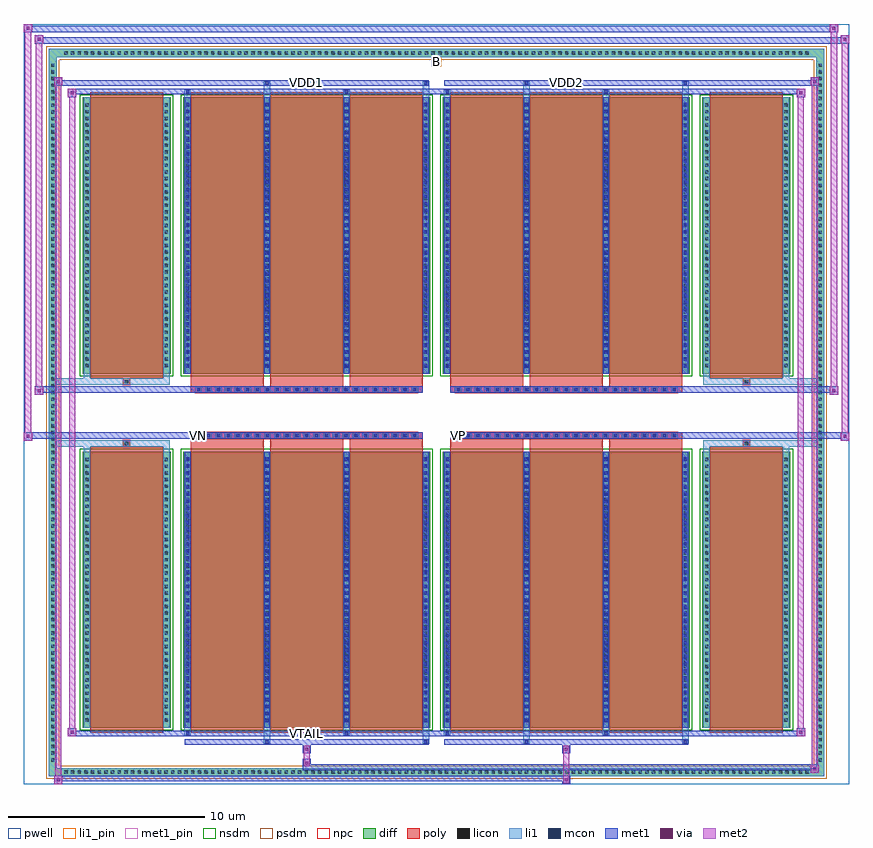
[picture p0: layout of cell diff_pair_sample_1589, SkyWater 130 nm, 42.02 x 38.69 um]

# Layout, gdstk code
import gdstk
lib = gdstk.Library(unit=1e-6, precision=5e-09)
def R(c, l, rs):  # rectangles x0, y0, x1, y1
    for r in rs: c.add(gdstk.rectangle(r[:2], r[2:], *l))
def A(c, l, x, y, w, h, nx, ny, dx, dy):  # array of equal rectangles
    R(c, l, [(x+i*dx, y+j*dy, x+i*dx+w, y+j*dy+h) for i in range(nx) for j in range(ny)])
def P(c, l, *ps):  # polygons
    for p in ps: c.add(gdstk.Polygon(p, *l))
pwell = (64, 44)
diff = (65, 20)
poly = (66, 20)
licon = (66, 44)
li1_pin = (67, 16)
li1 = (67, 20)
mcon = (67, 44)
met1_pin = (68, 16)
met1 = (68, 20)
via = (68, 44)
met2 = (69, 20)
nsdm = (93, 44)
psdm = (94, 20)
npc = (95, 20)

diff_pair_sample_1589 = lib.new_cell('diff_pair_sample_1589')
R(diff_pair_sample_1589, pwell, [(-21.01,-18.91,21.01,19.78), (-18.33,-17.1,-0.01,-0.8), (0.01,-17.1,18.33,-0.8), (-18.33,0.8,-0.01,17.1), (0.01,0.8,18.33,17.1)])
A(diff_pair_sample_1589, diff, -19.075, -18.51, 0.41, 0.41, 112, 2, 0.34, 36.61)
A(diff_pair_sample_1589, diff, -19.74, -17.885, 0.41, 0.41, 1, 105, 0, 0.34)
A(diff_pair_sample_1589, diff, 19.33, -17.885, 0.41, 0.41, 1, 105, 0, 0.34)
R(diff_pair_sample_1589, diff, [(-19.075,-18.51,19.075,-18.1), (-19.74,-17.885,-19.33,17.885), (19.33,-17.885,19.74,17.885), (-18.02,-16.055,-13.53,-1.985), (-12.89,-16.055,-0.32,-1.985), (0.32,-16.055,12.89,-1.985), (13.53,-16.055,18.02,-1.985), (-18.02,1.985,-13.53,16.055), (-12.89,1.985,-0.32,16.055), (0.32,1.985,12.89,16.055), (13.53,1.985,18.02,16.055), (-19.075,18.1,19.075,18.51)])
P(diff_pair_sample_1589, diff, [(19.74,18.51),(-19.74,18.51),(-19.74,-18.1),(-19.33,-18.1),(-19.33,18.1),(19.33,18.1),(19.33,-18.1),(-19.33,-18.1),(-19.74,-18.1),(-19.74,-18.51),(19.74,-18.51)])
A(diff_pair_sample_1589, poly, -12.5, -16.305, 3.71, 14.57, 3, 2, 4.04, 18.04)
A(diff_pair_sample_1589, poly, 0.71, -16.305, 3.71, 14.57, 3, 2, 4.04, 18.04)
A(diff_pair_sample_1589, poly, -12.5, -1.735, 3.71, 0.405, 3, 2, 4.04, 3.065)
A(diff_pair_sample_1589, poly, 0.71, -1.735, 3.71, 0.405, 3, 2, 4.04, 3.065)
A(diff_pair_sample_1589, poly, -12.27, -1.33, 0.33, 0.33, 23, 2, 0.5, 2.33)
A(diff_pair_sample_1589, poly, 0.94, -1.33, 0.33, 0.33, 23, 2, 0.5, 2.33)
R(diff_pair_sample_1589, poly, [(-17.63,-16.305,-13.92,-1.735), (13.92,-16.305,17.63,-1.735), (-15.94,-1.735,-15.61,-1.405), (-15.94,-1.735,-15.61,-1.405), (15.61,-1.735,15.94,-1.405), (15.61,-1.735,15.94,-1.405), (-12.5,-1.33,-0.71,-1), (0.71,-1.33,12.5,-1), (-12.5,1,-0.71,1.33), (0.71,1,12.5,1.33), (-15.94,1.405,-15.61,1.735), (-15.94,1.405,-15.61,1.735), (15.61,1.405,15.94,1.735), (15.61,1.405,15.94,1.735), (-17.63,1.735,-13.92,16.305), (13.92,1.735,17.63,16.305)])
A(diff_pair_sample_1589, licon, -18.955, -18.39, 0.17, 0.17, 112, 2, 0.34, 36.61)
A(diff_pair_sample_1589, licon, -19.62, -17.765, 0.17, 0.17, 1, 105, 0, 0.34)
A(diff_pair_sample_1589, licon, 19.45, -17.765, 0.17, 0.17, 1, 105, 0, 0.34)
A(diff_pair_sample_1589, licon, -17.88, -15.735, 0.17, 0.17, 1, 40, 0, 0.34)
A(diff_pair_sample_1589, licon, -13.84, -15.735, 0.17, 0.17, 1, 40, 0, 0.34)
A(diff_pair_sample_1589, licon, -12.75, -15.735, 0.17, 0.17, 4, 40, 4.04, 0.34)
A(diff_pair_sample_1589, licon, 0.46, -15.735, 0.17, 0.17, 4, 40, 4.04, 0.34)
A(diff_pair_sample_1589, licon, 13.67, -15.735, 0.17, 0.17, 1, 40, 0, 0.34)
A(diff_pair_sample_1589, licon, 17.71, -15.735, 0.17, 0.17, 1, 40, 0, 0.34)
A(diff_pair_sample_1589, licon, -12.19, -1.25, 0.17, 0.17, 23, 2, 0.5, 2.33)
A(diff_pair_sample_1589, licon, 1.02, -1.25, 0.17, 0.17, 23, 2, 0.5, 2.33)
A(diff_pair_sample_1589, licon, -17.88, 2.305, 0.17, 0.17, 1, 40, 0, 0.34)
A(diff_pair_sample_1589, licon, -13.84, 2.305, 0.17, 0.17, 1, 40, 0, 0.34)
A(diff_pair_sample_1589, licon, -12.75, 2.305, 0.17, 0.17, 4, 40, 4.04, 0.34)
A(diff_pair_sample_1589, licon, 0.46, 2.305, 0.17, 0.17, 4, 40, 4.04, 0.34)
A(diff_pair_sample_1589, licon, 13.67, 2.305, 0.17, 0.17, 1, 40, 0, 0.34)
A(diff_pair_sample_1589, licon, 17.71, 2.305, 0.17, 0.17, 1, 40, 0, 0.34)
R(diff_pair_sample_1589, licon, [(-15.86,-1.655,-15.69,-1.485), (15.69,-1.655,15.86,-1.485), (-15.86,1.485,-15.69,1.655), (15.69,1.485,15.86,1.655)])
R(diff_pair_sample_1589, li1_pin, [(-0.25,17.6,0.25,18.1)])
A(diff_pair_sample_1589, li1, -19.035, -18.47, 0.33, 0.33, 112, 2, 0.34, 36.61)
A(diff_pair_sample_1589, li1, -19.7, -17.845, 0.33, 0.33, 1, 105, 0, 0.34)
A(diff_pair_sample_1589, li1, 19.37, -17.845, 0.33, 0.33, 1, 105, 0, 0.34)
A(diff_pair_sample_1589, li1, -12.83, -16.055, 0.33, 14.07, 4, 2, 4.04, 18.04)
A(diff_pair_sample_1589, li1, 0.38, -16.055, 0.33, 14.07, 4, 2, 4.04, 18.04)
A(diff_pair_sample_1589, li1, -17.96, -15.815, 0.33, 0.33, 1, 40, 0, 0.34)
A(diff_pair_sample_1589, li1, -13.92, -15.815, 0.33, 0.33, 1, 40, 0, 0.34)
A(diff_pair_sample_1589, li1, -12.83, -15.815, 0.33, 0.33, 4, 40, 4.04, 0.34)
A(diff_pair_sample_1589, li1, 0.38, -15.815, 0.33, 0.33, 4, 40, 4.04, 0.34)
A(diff_pair_sample_1589, li1, 13.59, -15.815, 0.33, 0.33, 1, 40, 0, 0.34)
A(diff_pair_sample_1589, li1, 17.63, -15.815, 0.33, 0.33, 1, 40, 0, 0.34)
A(diff_pair_sample_1589, li1, -12.75, -15.765, 0.17, 0.17, 4, 38, 4.04, 0.36)
A(diff_pair_sample_1589, li1, -12.75, -15.765, 0.17, 13.49, 4, 2, 4.04, 18.04)
A(diff_pair_sample_1589, li1, 0.46, -15.765, 0.17, 0.17, 4, 38, 4.04, 0.36)
A(diff_pair_sample_1589, li1, 0.46, -15.765, 0.17, 13.49, 4, 2, 4.04, 18.04)
A(diff_pair_sample_1589, li1, -12.27, -1.33, 0.33, 0.33, 23, 2, 0.5, 2.33)
A(diff_pair_sample_1589, li1, 0.94, -1.33, 0.33, 0.33, 23, 2, 0.5, 2.33)
A(diff_pair_sample_1589, li1, -17.96, 2.225, 0.33, 0.33, 1, 40, 0, 0.34)
A(diff_pair_sample_1589, li1, -13.92, 2.225, 0.33, 0.33, 1, 40, 0, 0.34)
A(diff_pair_sample_1589, li1, -12.83, 2.225, 0.33, 0.33, 4, 40, 4.04, 0.34)
A(diff_pair_sample_1589, li1, 0.38, 2.225, 0.33, 0.33, 4, 40, 4.04, 0.34)
A(diff_pair_sample_1589, li1, 13.59, 2.225, 0.33, 0.33, 1, 40, 0, 0.34)
A(diff_pair_sample_1589, li1, 17.63, 2.225, 0.33, 0.33, 1, 40, 0, 0.34)
A(diff_pair_sample_1589, li1, -12.75, 2.275, 0.17, 0.17, 4, 38, 4.04, 0.36)
A(diff_pair_sample_1589, li1, 0.46, 2.275, 0.17, 0.17, 4, 38, 4.04, 0.36)
R(diff_pair_sample_1589, li1, [(-19.74,-18.51,-19.33,-18.1), (-19.74,-18.51,-19.33,-18.1), (-19.33,-18.51,19.33,-18.1), (19.33,-18.51,19.74,-18.1), (19.33,-18.51,19.74,-18.1), (-19.74,-18.1,-19.33,18.1), (19.33,-18.1,19.74,18.1), (-8.79,-16.86,-8.46,-16.055), (-8.71,-16.86,-8.54,-16.69), (-0.71,-16.86,-0.38,-16.055), (-0.63,-16.86,-0.46,-16.69), (4.42,-16.86,4.75,-16.055), (4.5,-16.86,4.67,-16.69), (12.5,-16.86,12.83,-16.055), (12.58,-16.86,12.75,-16.69), (-12.83,-16.43,-12.5,-16.055), (-12.75,-16.43,-12.58,-16.26), (-4.75,-16.43,-4.42,-16.055), (-4.67,-16.43,-4.5,-16.26), (0.38,-16.43,0.71,-16.055), (0.46,-16.43,0.63,-16.26), (8.46,-16.43,8.79,-16.055), (8.54,-16.43,8.71,-16.26), (-17.96,-16.055,-17.63,-1.985), (-13.92,-16.055,-13.59,-1.985), (13.59,-16.055,13.92,-1.985), (17.63,-16.055,17.96,-1.985), (-17.96,-1.985,-17.63,-1.405), (-13.92,-1.985,-13.59,-1.405), (13.59,-1.985,13.92,-1.405), (17.63,-1.985,17.96,-1.405), (-19.74,-1.735,-15.94,-1.405), (-17.96,-1.735,-15.94,-1.405), (-15.94,-1.735,-15.61,-1.405), (-15.61,-1.735,-13.59,-1.405), (13.59,-1.735,15.61,-1.405), (15.61,-1.735,15.94,-1.405), (15.61,-1.735,19.74,-1.405), (15.94,-1.735,17.96,-1.405), (-19.74,1.405,-15.94,1.735), (-17.96,1.405,-15.94,1.735), (-17.96,1.405,-17.63,1.985), (-15.94,1.405,-15.61,1.735), (-15.61,1.405,-13.59,1.735), (-13.92,1.405,-13.59,1.985), (13.59,1.405,15.61,1.735), (13.59,1.405,13.92,1.985), (15.61,1.405,15.94,1.735), (15.61,1.405,19.74,1.735), (15.94,1.405,17.96,1.735), (17.63,1.405,17.96,1.985), (-17.96,1.985,-17.63,16.055), (-13.92,1.985,-13.59,16.055), (13.59,1.985,13.92,16.055), (17.63,1.985,17.96,16.055), (-12.83,16.055,-12.5,16.43), (-8.79,16.055,-8.46,16.86), (-4.75,16.055,-4.42,16.43), (-0.71,16.055,-0.38,16.86), (0.38,16.055,0.71,16.43), (4.42,16.055,4.75,16.86), (8.46,16.055,8.79,16.43), (12.5,16.055,12.83,16.86), (-12.75,16.26,-12.58,16.43), (-4.67,16.26,-4.5,16.43), (0.46,16.26,0.63,16.43), (8.54,16.26,8.71,16.43), (-8.71,16.69,-8.54,16.86), (-0.63,16.69,-0.46,16.86), (4.5,16.69,4.67,16.86), (12.58,16.69,12.75,16.86), (-19.74,18.1,-19.33,18.51), (-19.74,18.1,-19.33,18.51), (-19.33,18.1,19.33,18.51), (19.33,18.1,19.74,18.51), (19.33,18.1,19.74,18.51)])
A(diff_pair_sample_1589, mcon, -12.75, -15.765, 0.17, 0.17, 4, 38, 4.04, 0.36)
A(diff_pair_sample_1589, mcon, 0.46, -15.765, 0.17, 0.17, 4, 38, 4.04, 0.36)
A(diff_pair_sample_1589, mcon, -12.19, -1.25, 0.17, 0.17, 23, 2, 0.5, 2.33)
A(diff_pair_sample_1589, mcon, 1.02, -1.25, 0.17, 0.17, 23, 2, 0.5, 2.33)
A(diff_pair_sample_1589, mcon, -12.75, 2.275, 0.17, 0.17, 4, 38, 4.04, 0.36)
A(diff_pair_sample_1589, mcon, 0.46, 2.275, 0.17, 0.17, 4, 38, 4.04, 0.36)
R(diff_pair_sample_1589, mcon, [(-8.71,-16.86,-8.54,-16.69), (-0.63,-16.86,-0.46,-16.69), (4.5,-16.86,4.67,-16.69), (12.58,-16.86,12.75,-16.69), (-12.75,-16.43,-12.58,-16.26), (-4.67,-16.43,-4.5,-16.26), (0.46,-16.43,0.63,-16.26), (8.54,-16.43,8.71,-16.26), (-12.75,16.26,-12.58,16.43), (-4.67,16.26,-4.5,16.43), (0.46,16.26,0.63,16.43), (8.54,16.26,8.71,16.43), (-8.71,16.69,-8.54,16.86), (-0.63,16.69,-0.46,16.86), (4.5,16.69,4.67,16.86), (12.58,16.69,12.75,16.86)])
R(diff_pair_sample_1589, met1_pin, [(-6.74,-16.47,-6.47,-16.2), (-12.24,-1.29,-11.97,-1.02), (0.97,-1.29,1.24,-1.02), (-6.74,16.65,-6.47,16.92), (6.47,16.65,6.74,16.92)])
A(diff_pair_sample_1589, met1, -12.81, -16.055, 0.29, 14.07, 4, 2, 4.04, 18.04)
A(diff_pair_sample_1589, met1, 0.4, -16.055, 0.29, 14.07, 4, 2, 4.04, 18.04)
A(diff_pair_sample_1589, met1, -12.81, -15.825, 0.29, 0.29, 4, 38, 4.04, 0.36)
A(diff_pair_sample_1589, met1, 0.4, -15.825, 0.29, 0.29, 4, 38, 4.04, 0.36)
A(diff_pair_sample_1589, met1, -12.25, -1.31, 0.29, 0.29, 23, 2, 0.5, 2.33)
A(diff_pair_sample_1589, met1, 0.96, -1.31, 0.29, 0.29, 23, 2, 0.5, 2.33)
A(diff_pair_sample_1589, met1, -12.81, 2.215, 0.29, 0.29, 4, 38, 4.04, 0.36)
A(diff_pair_sample_1589, met1, 0.4, 2.215, 0.29, 0.29, 4, 38, 4.04, 0.36)
R(diff_pair_sample_1589, met1, [(-19.47,-18.91,-19.04,-18.48), (6.39,-18.91,6.82,-18.48), (-19.47,-18.77,6.82,-18.48), (19.04,-18.34,19.47,-17.91), (-6.82,-18.2,19.47,-17.91), (-6.82,-18.06,-6.39,-17.63), (-6.82,-17.35,-6.39,-16.92), (6.39,-17.35,6.82,-16.92), (-12.81,-16.92,-0.4,-16.63), (-8.77,-16.92,-8.48,-16.63), (-0.69,-16.92,-0.4,-16.63), (0.4,-16.92,12.81,-16.63), (4.44,-16.92,4.73,-16.63), (12.52,-16.92,12.81,-16.63), (-18.76,-16.49,-18.33,-16.06), (-18.76,-16.49,-12.81,-16.2), (-12.81,-16.49,-12.52,-16.2), (-12.81,-16.49,-0.4,-16.2), (-4.73,-16.49,-4.44,-16.2), (-0.4,-16.49,0.4,-16.2), (0.4,-16.49,0.69,-16.2), (0.4,-16.49,12.81,-16.2), (8.48,-16.49,8.77,-16.2), (12.81,-16.49,18.76,-16.2), (18.33,-16.49,18.76,-16.06), (-21.01,-1.43,-20.58,-1), (20.58,-1.43,21.01,-1), (-21.01,-1.33,-0.71,-1), (-12.5,-1.33,-0.71,-1), (0.71,-1.33,12.5,-1), (0.71,-1.33,21.01,-1), (-20.44,0.9,-20.01,1.33), (20.01,0.9,20.44,1.33), (-20.44,1,-12.5,1.33), (-12.5,1,-0.71,1.33), (0.71,1,12.5,1.33), (12.5,1,20.44,1.33), (-18.76,16.06,-18.33,16.49), (18.33,16.06,18.76,16.49), (-18.76,16.2,-12.81,16.49), (-12.81,16.2,-12.52,16.49), (-12.81,16.2,-0.4,16.49), (-4.73,16.2,-4.44,16.49), (-0.4,16.2,0.4,16.49), (0.4,16.2,0.69,16.49), (0.4,16.2,12.81,16.49), (8.48,16.2,8.77,16.49), (12.81,16.2,18.76,16.49), (-19.47,16.63,-19.04,17.06), (-19.47,16.63,-12.81,16.92), (-12.81,16.63,-0.4,16.92), (-8.77,16.63,-8.48,16.92), (-0.69,16.63,-0.4,16.92), (0.4,16.63,12.81,16.92), (4.44,16.63,4.73,16.92), (12.52,16.63,12.81,16.92), (12.81,16.63,19.47,16.92), (19.04,16.63,19.47,17.06), (-20.44,18.78,-20.01,19.21), (-20.44,18.78,-18.33,19.11), (-18.33,18.78,18.33,19.11), (18.33,18.78,21.01,19.11), (20.58,18.78,21.01,19.21), (-21.01,19.35,-20.58,19.78), (-21.01,19.35,-18.33,19.68), (-18.33,19.35,18.33,19.68), (18.33,19.35,20.44,19.68), (20.01,19.35,20.44,19.78)])
R(diff_pair_sample_1589, via, [(-19.33,-18.77,-19.18,-18.62), (6.53,-18.77,6.68,-18.62), (19.18,-18.2,19.33,-18.05), (-6.68,-17.92,-6.53,-17.77), (-6.68,-17.21,-6.53,-17.06), (6.53,-17.21,6.68,-17.06), (-18.62,-16.35,-18.47,-16.2), (18.47,-16.35,18.62,-16.2), (-20.87,-1.29,-20.72,-1.14), (20.72,-1.29,20.87,-1.14), (-20.3,1.04,-20.15,1.19), (20.15,1.04,20.3,1.19), (-18.62,16.2,-18.47,16.35), (18.47,16.2,18.62,16.35), (-19.33,16.77,-19.18,16.92), (19.18,16.77,19.33,16.92), (-20.3,18.92,-20.15,19.07), (20.72,18.92,20.87,19.07), (-20.87,19.49,-20.72,19.64), (20.15,19.49,20.3,19.64)])
R(diff_pair_sample_1589, met2, [(-19.47,-18.91,-19.04,-18.48), (-19.4,-18.91,-19.11,17.06), (-19.11,-18.91,-19.04,-18.48), (-19.42,-18.86,-19.09,-18.53), (6.44,-18.86,6.77,-18.53), (6.44,-18.53,6.77,-17.3), (19.04,-18.34,19.47,-17.91), (19.11,-18.34,19.4,17.06), (19.4,-18.34,19.47,-17.91), (19.09,-18.29,19.42,-17.96), (-6.77,-18.01,-6.44,-17.68), (-6.77,-17.68,-6.44,-17.3), (-6.77,-17.3,-6.44,-16.97), (6.44,-17.3,6.77,-16.97), (-18.76,-16.49,-18.33,-16.06), (-18.69,-16.49,-18.4,16.49), (-18.4,-16.49,-18.33,-16.06), (18.33,-16.49,18.76,-16.06), (18.4,-16.49,18.69,16.49), (18.69,-16.49,18.76,-16.06), (-18.71,-16.44,-18.38,-16.11), (18.38,-16.44,18.71,-16.11), (-21.01,-1.43,-20.58,-1), (-20.96,-1.43,-20.63,19.78), (-20.63,-1.43,-20.58,-1), (20.58,-1.43,21.01,-1), (20.63,-1.43,20.96,19.21), (20.96,-1.43,21.01,-1), (-20.96,-1.38,-20.63,-1.05), (20.63,-1.38,20.96,-1.05), (-20.44,0.9,-20.01,1.33), (-20.39,0.9,-20.06,19.21), (-20.06,0.9,-20.01,1.33), (20.01,0.9,20.44,1.33), (20.06,0.9,20.39,19.78), (20.39,0.9,20.44,1.33), (-20.39,0.95,-20.06,1.28), (20.06,0.95,20.39,1.28), (-18.76,16.06,-18.33,16.49), (-18.4,16.06,-18.33,16.49), (18.33,16.06,18.76,16.49), (18.69,16.06,18.76,16.49), (-18.71,16.11,-18.38,16.44), (18.38,16.11,18.71,16.44), (-19.47,16.63,-19.04,17.06), (-19.11,16.63,-19.04,17.06), (19.04,16.63,19.47,17.06), (19.4,16.63,19.47,17.06), (-19.42,16.68,-19.09,17.01), (19.09,16.68,19.42,17.01), (-20.44,18.78,-20.01,19.21), (-20.06,18.78,-20.01,19.21), (20.58,18.78,21.01,19.21), (20.96,18.78,21.01,19.21), (-20.39,18.83,-20.06,19.16), (20.63,18.83,20.96,19.16), (-21.01,19.35,-20.58,19.78), (-20.63,19.35,-20.58,19.78), (20.01,19.35,20.44,19.78), (20.39,19.35,20.44,19.78), (-20.96,19.4,-20.63,19.73), (20.06,19.4,20.39,19.73)])
R(diff_pair_sample_1589, nsdm, [(-18.15,-16.185,-13.4,-1.855), (-13.02,-16.185,-0.19,-1.855), (0.19,-16.185,13.02,-1.855), (13.4,-16.185,18.15,-1.855), (-18.15,1.855,-13.4,16.185), (-13.02,1.855,-0.19,16.185), (0.19,1.855,13.02,16.185), (13.4,1.855,18.15,16.185)])
P(diff_pair_sample_1589, psdm, [(19.87,18.64),(-19.87,18.64),(-19.87,-17.97),(-19.2,-17.97),(-19.2,17.97),(19.2,17.97),(19.2,-17.97),(-19.2,-17.97),(-19.87,-17.97),(-19.87,-18.64),(19.87,-18.64)])
A(diff_pair_sample_1589, npc, -12.29, -1.35, 0.37, 0.37, 23, 2, 0.5, 2.33)
A(diff_pair_sample_1589, npc, 0.92, -1.35, 0.37, 0.37, 23, 2, 0.5, 2.33)
R(diff_pair_sample_1589, npc, [(-15.96,-1.755,-15.59,-1.385), (15.59,-1.755,15.96,-1.385), (-12.29,-1.35,-11.42,-0.98), (-12.29,-1.35,-11.42,-0.98), (-11.79,-1.35,-10.92,-0.98), (-11.79,-1.35,-10.92,-0.98), (-11.29,-1.35,-10.42,-0.98), (-11.29,-1.35,-10.42,-0.98), (-10.79,-1.35,-9.92,-0.98), (-10.79,-1.35,-9.92,-0.98), (-10.29,-1.35,-9.42,-0.98), (-10.29,-1.35,-9.42,-0.98), (-9.79,-1.35,-8.92,-0.98), (-9.79,-1.35,-8.92,-0.98), (-9.29,-1.35,-8.42,-0.98), (-9.29,-1.35,-8.42,-0.98), (-8.79,-1.35,-7.92,-0.98), (-8.79,-1.35,-7.92,-0.98), (-8.29,-1.35,-7.42,-0.98), (-8.29,-1.35,-7.42,-0.98), (-7.79,-1.35,-6.92,-0.98), (-7.79,-1.35,-6.92,-0.98), (-7.29,-1.35,-6.42,-0.98), (-7.29,-1.35,-6.42,-0.98), (-6.79,-1.35,-5.92,-0.98), (-6.79,-1.35,-5.92,-0.98), (-6.29,-1.35,-5.42,-0.98), (-6.29,-1.35,-5.42,-0.98), (-5.79,-1.35,-4.92,-0.98), (-5.79,-1.35,-4.92,-0.98), (-5.29,-1.35,-4.42,-0.98), (-5.29,-1.35,-4.42,-0.98), (-4.79,-1.35,-3.92,-0.98), (-4.79,-1.35,-3.92,-0.98), (-4.29,-1.35,-3.42,-0.98), (-4.29,-1.35,-3.42,-0.98), (-3.79,-1.35,-2.92,-0.98), (-3.79,-1.35,-2.92,-0.98), (-3.29,-1.35,-2.42,-0.98), (-3.29,-1.35,-2.42,-0.98), (-2.79,-1.35,-1.92,-0.98), (-2.79,-1.35,-1.92,-0.98), (-2.29,-1.35,-1.42,-0.98), (-2.29,-1.35,-1.42,-0.98), (-1.79,-1.35,-0.92,-0.98), (-1.79,-1.35,-0.92,-0.98), (0.92,-1.35,1.79,-0.98), (0.92,-1.35,1.79,-0.98), (1.42,-1.35,2.29,-0.98), (1.42,-1.35,2.29,-0.98), (1.92,-1.35,2.79,-0.98), (1.92,-1.35,2.79,-0.98), (2.42,-1.35,3.29,-0.98), (2.42,-1.35,3.29,-0.98), (2.92,-1.35,3.79,-0.98), (2.92,-1.35,3.79,-0.98), (3.42,-1.35,4.29,-0.98), (3.42,-1.35,4.29,-0.98), (3.92,-1.35,4.79,-0.98), (3.92,-1.35,4.79,-0.98), (4.42,-1.35,5.29,-0.98), (4.42,-1.35,5.29,-0.98), (4.92,-1.35,5.79,-0.98), (4.92,-1.35,5.79,-0.98), (5.42,-1.35,6.29,-0.98), (5.42,-1.35,6.29,-0.98), (5.92,-1.35,6.79,-0.98), (5.92,-1.35,6.79,-0.98), (6.42,-1.35,7.29,-0.98), (6.42,-1.35,7.29,-0.98), (6.92,-1.35,7.79,-0.98), (6.92,-1.35,7.79,-0.98), (7.42,-1.35,8.29,-0.98), (7.42,-1.35,8.29,-0.98), (7.92,-1.35,8.79,-0.98), (7.92,-1.35,8.79,-0.98), (8.42,-1.35,9.29,-0.98), (8.42,-1.35,9.29,-0.98), (8.92,-1.35,9.79,-0.98), (8.92,-1.35,9.79,-0.98), (9.42,-1.35,10.29,-0.98), (9.42,-1.35,10.29,-0.98), (9.92,-1.35,10.79,-0.98), (9.92,-1.35,10.79,-0.98), (10.42,-1.35,11.29,-0.98), (10.42,-1.35,11.29,-0.98), (10.92,-1.35,11.79,-0.98), (10.92,-1.35,11.79,-0.98), (11.42,-1.35,12.29,-0.98), (11.42,-1.35,12.29,-0.98), (-12.29,0.98,-11.42,1.35), (-12.29,0.98,-11.42,1.35), (-11.79,0.98,-10.92,1.35), (-11.79,0.98,-10.92,1.35), (-11.29,0.98,-10.42,1.35), (-11.29,0.98,-10.42,1.35), (-10.79,0.98,-9.92,1.35), (-10.79,0.98,-9.92,1.35), (-10.29,0.98,-9.42,1.35), (-10.29,0.98,-9.42,1.35), (-9.79,0.98,-8.92,1.35), (-9.79,0.98,-8.92,1.35), (-9.29,0.98,-8.42,1.35), (-9.29,0.98,-8.42,1.35), (-8.79,0.98,-7.92,1.35), (-8.79,0.98,-7.92,1.35), (-8.29,0.98,-7.42,1.35), (-8.29,0.98,-7.42,1.35), (-7.79,0.98,-6.92,1.35), (-7.79,0.98,-6.92,1.35), (-7.29,0.98,-6.42,1.35), (-7.29,0.98,-6.42,1.35), (-6.79,0.98,-5.92,1.35), (-6.79,0.98,-5.92,1.35), (-6.29,0.98,-5.42,1.35), (-6.29,0.98,-5.42,1.35), (-5.79,0.98,-4.92,1.35), (-5.79,0.98,-4.92,1.35), (-5.29,0.98,-4.42,1.35), (-5.29,0.98,-4.42,1.35), (-4.79,0.98,-3.92,1.35), (-4.79,0.98,-3.92,1.35), (-4.29,0.98,-3.42,1.35), (-4.29,0.98,-3.42,1.35), (-3.79,0.98,-2.92,1.35), (-3.79,0.98,-2.92,1.35), (-3.29,0.98,-2.42,1.35), (-3.29,0.98,-2.42,1.35), (-2.79,0.98,-1.92,1.35), (-2.79,0.98,-1.92,1.35), (-2.29,0.98,-1.42,1.35), (-2.29,0.98,-1.42,1.35), (-1.79,0.98,-0.92,1.35), (-1.79,0.98,-0.92,1.35), (0.92,0.98,1.79,1.35), (0.92,0.98,1.79,1.35), (1.42,0.98,2.29,1.35), (1.42,0.98,2.29,1.35), (1.92,0.98,2.79,1.35), (1.92,0.98,2.79,1.35), (2.42,0.98,3.29,1.35), (2.42,0.98,3.29,1.35), (2.92,0.98,3.79,1.35), (2.92,0.98,3.79,1.35), (3.42,0.98,4.29,1.35), (3.42,0.98,4.29,1.35), (3.92,0.98,4.79,1.35), (3.92,0.98,4.79,1.35), (4.42,0.98,5.29,1.35), (4.42,0.98,5.29,1.35), (4.92,0.98,5.79,1.35), (4.92,0.98,5.79,1.35), (5.42,0.98,6.29,1.35), (5.42,0.98,6.29,1.35), (5.92,0.98,6.79,1.35), (5.92,0.98,6.79,1.35), (6.42,0.98,7.29,1.35), (6.42,0.98,7.29,1.35), (6.92,0.98,7.79,1.35), (6.92,0.98,7.79,1.35), (7.42,0.98,8.29,1.35), (7.42,0.98,8.29,1.35), (7.92,0.98,8.79,1.35), (7.92,0.98,8.79,1.35), (8.42,0.98,9.29,1.35), (8.42,0.98,9.29,1.35), (8.92,0.98,9.79,1.35), (8.92,0.98,9.79,1.35), (9.42,0.98,10.29,1.35), (9.42,0.98,10.29,1.35), (9.92,0.98,10.79,1.35), (9.92,0.98,10.79,1.35), (10.42,0.98,11.29,1.35), (10.42,0.98,11.29,1.35), (10.92,0.98,11.79,1.35), (10.92,0.98,11.79,1.35), (11.42,0.98,12.29,1.35), (11.42,0.98,12.29,1.35), (-15.96,1.385,-15.59,1.755), (15.59,1.385,15.96,1.755)])
diff_pair_sample_1589.add(gdstk.Label('VTAIL', (-6.605,-16.335), layer=68, texttype=5))
diff_pair_sample_1589.add(gdstk.Label('VN', (-12.105,-1.155), layer=68, texttype=5))
diff_pair_sample_1589.add(gdstk.Label('VP', (1.105,-1.155), layer=68, texttype=5))
diff_pair_sample_1589.add(gdstk.Label('B', (0,17.85), layer=67, texttype=5))
diff_pair_sample_1589.add(gdstk.Label('VDD2', (6.605,16.785), layer=68, texttype=5))
diff_pair_sample_1589.add(gdstk.Label('VDD1', (-6.605,16.785), layer=68, texttype=5))

lib.write_gds('diff_pair_sample_1589.gds')
